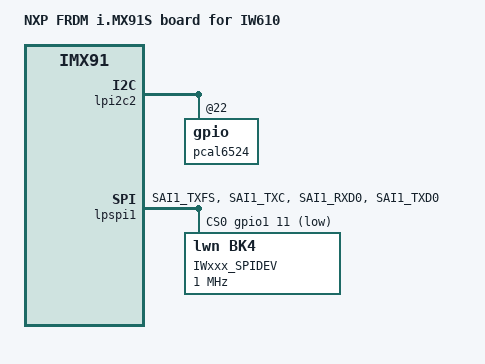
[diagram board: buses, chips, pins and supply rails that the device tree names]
// SPDX-License-Identifier: (GPL-2.0+ OR MIT)
/*
 * Copyright 2025 NXP
 */

#include "imx91-11x11-frdm-s.dts"

/ {
	// Patch for IW61x:
	// 1: make gpio IW61x_IND_RST_15_4 and IW61x_SPI_INT drivable from userspace
	// 2: enable lpspi1 for IWxxx_SPI and SPI 50µs interleaved
	// 3: set bt fw-init-baudrate to 3000000
	model = "NXP FRDM i.MX91S board for IW610";
};

&lpi2c2 {
	pcal6524: gpio@22 {
		gpio-line-names = "", "", "IWxxx_NB_IND_RST_15_4";
	};
};

&gpio4 {
	gpio-line-names = "", "", "", "", "", "", "", "", "", "", "", "", "", "", "IWxxx_NB_SPI_INT";
};

&lpuart5 {
	bluetooth {
		fw-init-baudrate = <3000000>;
	};
};

&lpspi1 {
	fsl,spi-num-chipselects = <1>;
	pinctrl-names = "default", "sleep";
	pinctrl-0 = <&pinctrl_lpspi1>;
	pinctrl-1 = <&pinctrl_lpspi1>;
	cs-gpios = <&gpio1 11 GPIO_ACTIVE_LOW>;
	status = "okay";
	pinctrl-assert-gpios = <&pcal6524 20 GPIO_ACTIVE_LOW>;

	spidev0: spi@0 {
		reg = <0>;
		compatible = "lwn,bk4";
		spi-max-frequency = <1000000>;
		spi-cs-inactive-delay-ns = <50000>;
		label="IWxxx_SPIDEV";
	};
};

&iomuxc {
	pinctrl_lpspi1: lpspi1grp {
		fsl,pins = <
			MX91_PAD_SAI1_TXFS__GPIO1_IO11      0x3fe
			MX91_PAD_SAI1_TXC__LPSPI1_SIN       0x3fe
			MX91_PAD_SAI1_RXD0__LPSPI1_SOUT     0x3fe
			MX91_PAD_SAI1_TXD0__LPSPI1_SCK      0x3fe
		>;
	};
};
